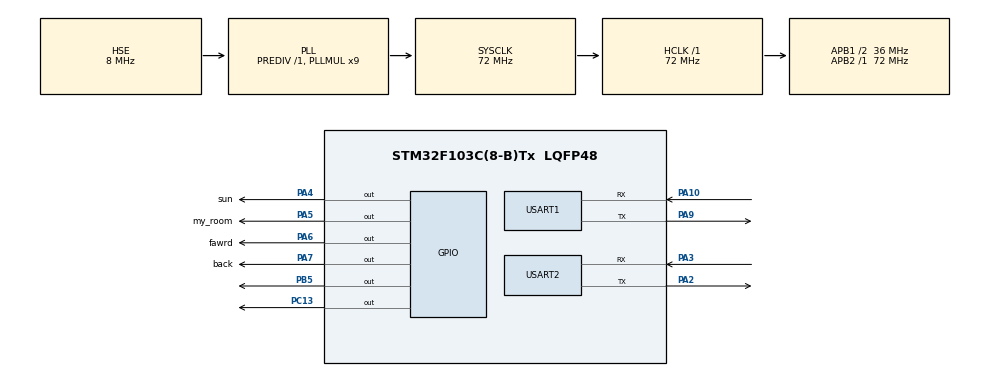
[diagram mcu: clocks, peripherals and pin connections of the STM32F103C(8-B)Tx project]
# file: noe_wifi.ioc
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Mcu.Family=STM32F1
Mcu.Name=STM32F103C(8-B)Tx
Mcu.Package=LQFP48
NVIC.PriorityGroup=NVIC_PRIORITYGROUP_4
NVIC.TIM2_IRQn=true\:0\:0\:false\:false\:true\:true\:true\:true
NVIC.TIM3_IRQn=true\:0\:0\:false\:false\:true\:true\:true\:true
NVIC.TIM4_IRQn=true\:0\:0\:false\:false\:true\:true\:true\:true
NVIC.USART1_IRQn=true\:0\:0\:false\:false\:true\:true\:true\:true
NVIC.USART2_IRQn=true\:0\:0\:false\:false\:true\:true\:true\:true
PA10.Mode=Asynchronous
PA10.Signal=USART1_RX
PA13.Mode=Serial_Wire
PA13.Signal=SYS_JTMS-SWDIO
PA14.Mode=Serial_Wire
PA14.Signal=SYS_JTCK-SWCLK
PA2.Mode=Asynchronous
PA2.Signal=USART2_TX
PA3.Mode=Asynchronous
PA3.Signal=USART2_RX
PA4.GPIO_Label=sun
PA4.Signal=GPIO_Output
PA5.GPIO_Label=my_room
PA5.Signal=GPIO_Output
PA6.GPIO_Label=fawrd
PA6.Signal=GPIO_Output
PA7.GPIO_Label=back
PA7.Signal=GPIO_Output
PA9.Mode=Asynchronous
PA9.Signal=USART1_TX
PB5.PinState=GPIO_PIN_SET
PB5.Signal=GPIO_Output
PC13-TAMPER-RTC.GPIO_ModeDefaultOutputPP=GPIO_MODE_OUTPUT_OD
PC13-TAMPER-RTC.GPIO_PuPd=GPIO_NOPULL
PC13-TAMPER-RTC.GPIO_Speed=GPIO_SPEED_FREQ_HIGH
PC13-TAMPER-RTC.PinState=GPIO_PIN_RESET
PC13-TAMPER-RTC.Signal=GPIO_Output
PC14-OSC32_IN.Mode=LSE-External-Oscillator
PC14-OSC32_IN.Signal=RCC_OSC32_IN
PC15-OSC32_OUT.Mode=LSE-External-Oscillator
PC15-OSC32_OUT.Signal=RCC_OSC32_OUT
PD0-OSC_IN.Mode=HSE-External-Oscillator
PD0-OSC_IN.Signal=RCC_OSC_IN
PD1-OSC_OUT.Mode=HSE-External-Oscillator
PD1-OSC_OUT.Signal=RCC_OSC_OUT
ProjectManager.HeapSize=0x200
ProjectManager.StackSize=0x400
ProjectManager.TargetToolchain=MDK-ARM V5.32
RCC.ADCPresc=RCC_ADCPCLK2_DIV6
RCC.AHBFreq_Value=72000000
RCC.APB1CLKDivider=RCC_HCLK_DIV2
RCC.APB1Freq_Value=36000000
RCC.APB1TimFreq_Value=72000000
RCC.APB2Freq_Value=72000000
RCC.APB2TimFreq_Value=72000000
RCC.HCLKFreq_Value=72000000
RCC.PLLMUL=RCC_PLL_MUL9
RCC.PLLSourceVirtual=RCC_PLLSOURCE_HSE
RCC.SYSCLKFreq_VALUE=72000000
RCC.SYSCLKSource=RCC_SYSCLKSOURCE_PLLCLK
RCC.USBFreq_Value=72000000
TIM2.Prescaler=71
TIM3.Period=4499
TIM3.Prescaler=8
TIM4.AutoReloadPreload=TIM_AUTORELOAD_PRELOAD_ENABLE
TIM4.Period=50000-1
TIM4.Prescaler=7199
USART1.VirtualMode=VM_ASYNC
USART2.VirtualMode=VM_ASYNC
VP_TIM2_VS_ClockSourceINT.Mode=Internal
VP_TIM3_VS_ClockSourceINT.Mode=Internal
VP_TIM4_VS_ClockSourceINT.Mode=Internal
board=custom

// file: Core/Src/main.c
/* USER CODE BEGIN Header */
/**
  ******************************************************************************
  * @file           : main.c
  * @brief          : Main program body
  ******************************************************************************
  * @attention
  *
  * Copyright (c) 2026 STMicroelectronics.
  * All rights reserved.
  *
  * This software is licensed under terms that can be found in the LICENSE file
  * in the root directory of this software component.
  * If no LICENSE file comes with this software, it is provided AS-IS.
  *
  ******************************************************************************
  */
/* USER CODE END Header */
#include "main.h"
#include "tim.h"
#include "usart.h"
#include "gpio.h"

/* USER CODE BEGIN Includes */
#include <string.h>
#include <stdio.h>
#include "esp8266.h"

/* USER CODE END Includes */

/* USER CODE BEGIN PD */

		// 定义定时周期（示例：1000ms = 1秒发送一次，可根据需求修改）
	#define MQTT_SEND_PERIOD_MS  5000
	// 记录上一次发送MQTT数据的时间戳（静态变量，仅在当前作用域有效，值会持续保存）
	static uint32_t g_last_mqtt_send_tick = 0;
volatile	uint8_t g_uart1_busy = 0;

/* USER CODE END PD */

void SystemClock_Config(void);

/* USER CODE BEGIN 0 */
void HAL_TIM_PeriodElapsedCallback(TIM_HandleTypeDef *htim)
{

}
/* USER CODE END 0 */

int main(void)
{

  /* MCU Configuration--------------------------------------------------------*/

  /* Reset of all peripherals, Initializes the Flash interface and the Systick. */
  HAL_Init();

  /* Configure the system clock */
  SystemClock_Config();

  /* Initialize all configured peripherals */
  MX_GPIO_Init();
  MX_USART1_UART_Init();
  MX_USART2_UART_Init();
  MX_TIM3_Init();
  MX_TIM2_Init();
  MX_TIM4_Init();
  /* USER CODE BEGIN 2 */

		//ESP8266_Get_LinkStatus();
		//ESP8266_ExitUnvarnishSend();

		ESP8266_Init();
		ESP8266_Aithinker_MQTT_Example();
		ESP8266_MQTT_Subscribe_OneNET();
		ESP8266_MQTT_Subscribe_OneNET_Repaly();
		ESP8266_Bind_OneNET_Report_Topic_With_Cmd();

		//ESP8266_Enter_Transparent_Mode();

			 g_last_mqtt_send_tick = HAL_GetTick();

		//ESP8266_Link_Server(NET_PROTOCOL_MQTT,"mqtts.heclouds.com","1883",ID_NO_SINGLE);
  /* USER CODE END 2 */

  /* Infinite loop */
  /* USER CODE BEGIN WHILE */
  while (1)
  {

		    // 1. 控制light_b引脚
    HAL_GPIO_WritePin(my_room_GPIO_Port, my_room_Pin,
                      g_OneNET_Property_Data.light_b ? GPIO_PIN_RESET : GPIO_PIN_SET);
    // 2. 控制light_back引脚
    HAL_GPIO_WritePin(back_GPIO_Port, back_Pin,
                      g_OneNET_Property_Data.light_back ? GPIO_PIN_SET : GPIO_PIN_RESET);
    // 3. 控制light_f引脚
    HAL_GPIO_WritePin(fawrd_GPIO_Port, fawrd_Pin,
                      g_OneNET_Property_Data.light_f ? GPIO_PIN_RESET : GPIO_PIN_SET);
    // 4. 控制sun引脚
    HAL_GPIO_WritePin(sun_GPIO_Port, sun_Pin,
                      g_OneNET_Property_Data.sun ? GPIO_PIN_RESET : GPIO_PIN_SET);

				main_loop_task();

				uint32_t current_tick = HAL_GetTick(); // 获取当前系统节拍时间戳

				if (g_uart1_busy == 0 &&g_OneNET_Property_Data.is_updated)
        {
            g_uart1_busy = 1; // 临时占标：防止上报过程中解析突然触发
            // 执行上报，上报完成后立即释放标志
            ESP8266_AT_MQTT_Publish_Raw(g_OneNET_Property_Data.light_b,
                                        g_OneNET_Property_Data.light_back,
                                        g_OneNET_Property_Data.light_f,
                                        g_OneNET_Property_Data.sun);
            g_uart1_busy = 0; // 释放标志：上报完成，恢复解析优先
            g_last_mqtt_send_tick = current_tick; // 仅上报成功才更新时间戳
						g_OneNET_Property_Data.is_updated = 0;
            UART2_Debug_Print("MQTT Publish: Success (Parse Idle)");
        }
        // 解析忙则跳过：不更新时间戳，下一个周期继续检测，直到解析空闲
        else
        {
            UART2_Debug_Print("MQTT Publish: Skip (Parsing...)");
            // 不更新g_last_mqtt_send_tick，保证上报周期连续检测
        }

    /* USER CODE END WHILE */

  }
}

void SystemClock_Config(void)
{
  RCC_OscInitTypeDef RCC_OscInitStruct = {0};
  RCC_ClkInitTypeDef RCC_ClkInitStruct = {0};

  /** Initializes the RCC Oscillators according to the specified parameters
  * in the RCC_OscInitTypeDef structure.
  */
  RCC_OscInitStruct.OscillatorType = RCC_OSCILLATORTYPE_HSE;
  RCC_OscInitStruct.HSEState = RCC_HSE_ON;
  RCC_OscInitStruct.HSEPredivValue = RCC_HSE_PREDIV_DIV1;
  RCC_OscInitStruct.HSIState = RCC_HSI_ON;
  RCC_OscInitStruct.PLL.PLLState = RCC_PLL_ON;
  RCC_OscInitStruct.PLL.PLLSource = RCC_PLLSOURCE_HSE;
  RCC_OscInitStruct.PLL.PLLMUL = RCC_PLL_MUL9;
  if (HAL_RCC_OscConfig(&RCC_OscInitStruct) != HAL_OK)
  {
    Error_Handler();
  }

  /** Initializes the CPU, AHB and APB buses clocks
  */
  RCC_ClkInitStruct.ClockType = RCC_CLOCKTYPE_HCLK|RCC_CLOCKTYPE_SYSCLK
                              |RCC_CLOCKTYPE_PCLK1|RCC_CLOCKTYPE_PCLK2;
  RCC_ClkInitStruct.SYSCLKSource = RCC_SYSCLKSOURCE_PLLCLK;
  RCC_ClkInitStruct.AHBCLKDivider = RCC_SYSCLK_DIV1;
  RCC_ClkInitStruct.APB1CLKDivider = RCC_HCLK_DIV2;
  RCC_ClkInitStruct.APB2CLKDivider = RCC_HCLK_DIV1;

  if (HAL_RCC_ClockConfig(&RCC_ClkInitStruct, FLASH_LATENCY_2) != HAL_OK)
  {
    Error_Handler();
  }
}

/* USER CODE BEGIN 4 */

void HAL_TIM_IC_CaptureCallback(TIM_HandleTypeDef *htim)
{

}

/* USER CODE END 4 */

void Error_Handler(void)
{
  __disable_irq();
  while (1)
  {
  }
}
